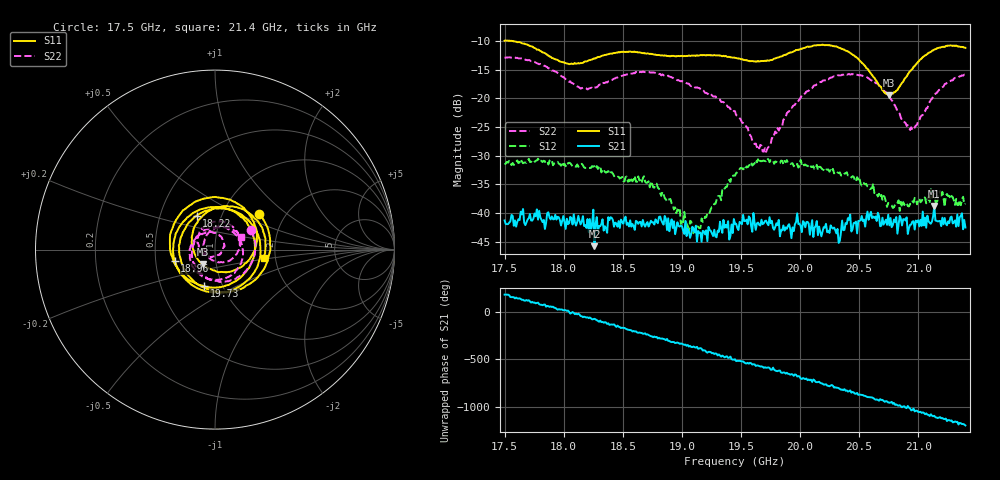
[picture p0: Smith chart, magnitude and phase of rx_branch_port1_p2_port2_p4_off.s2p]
!Created with skrf (http://scikit-rf.org).
# GHz S RI R 50.0
!freq ReS11 ImS11 ReS21 ImS21 ReS12 ImS12 ReS22 ImS22
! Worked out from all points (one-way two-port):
!   401 points, 17.5 GHz to 21.4 GHz, reference 50 ohm
!   highest |S21| = -38.76 dB at 21.14 GHz (marker M1); lowest = -45.8 dB at 18.26 GHz (marker M2)
!   lowest |S11| = -19.5 dB at 20.76 GHz (marker M3), VSWR 1.24, Z = 43 - j7.01 ohm
!   |S11| at or under -10 dB: 17.56 GHz to end of sweep
!   |S22| runs from -29.3 to -12.8 dB; largest |S21 - S12| = 0.037
!   S11 on the Smith chart (normalised r, x): 17.5 GHz: 1.48, +0.66; 18.22 GHz: 0.76, +0.30; 18.96 GHz: 0.63, -0.09; 19.73 GHz: 0.82, -0.35; 21.4 GHz: 1.74, -0.17
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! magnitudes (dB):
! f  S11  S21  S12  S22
! 17.5 GHz  -10.0  -41.3  -31.5  -12.9
! 17.77 GHz  -11.5  -39.4  -30.8  -13.9
! 18.15 GHz  -13.9  -41.5  -31.4  -18.2
! 18.22 GHz  -13.4  -41.0  -32.1  -18.2
! 18.26 GHz  -13.1  -45.8  -31.8  -18.1
! 18.81 GHz  -12.5  -40.7  -35.8  -15.8
! 18.96 GHz  -12.6  -41.6  -39.4  -16.9
! 19.12 GHz  -12.6  -42.2  -42.4  -18.1
! 19.45 GHz  -13.0  -41.9  -33.5  -22.3
! 19.62 GHz  -13.5  -41.7  -31.3  -28.0
! 19.73 GHz  -13.4  -42.1  -30.7  -28.5
! 19.91 GHz  -12.1  -41.9  -31.3  -22.3
! 19.98 GHz  -11.6  -40.1  -31.4  -20.7
! 20.1 GHz  -10.9  -41.2  -32.0  -18.2
! 20.33 GHz  -11.2  -45.2  -33.0  -16.0
! 20.41 GHz  -11.8  -40.9  -33.4  -15.8
! 20.46 GHz  -12.7  -41.7  -34.2  -15.8
! 20.58 GHz  -15.1  -41.2  -35.5  -16.5
! 20.76 GHz  -19.5  -42.1  -38.4  -19.6
! 20.94 GHz  -15.1  -42.0  -38.5  -25.1
! 21.14 GHz  -11.5  -38.8  -36.6  -19.5
! 21.4 GHz  -11.2  -42.5  -38.4  -15.9
